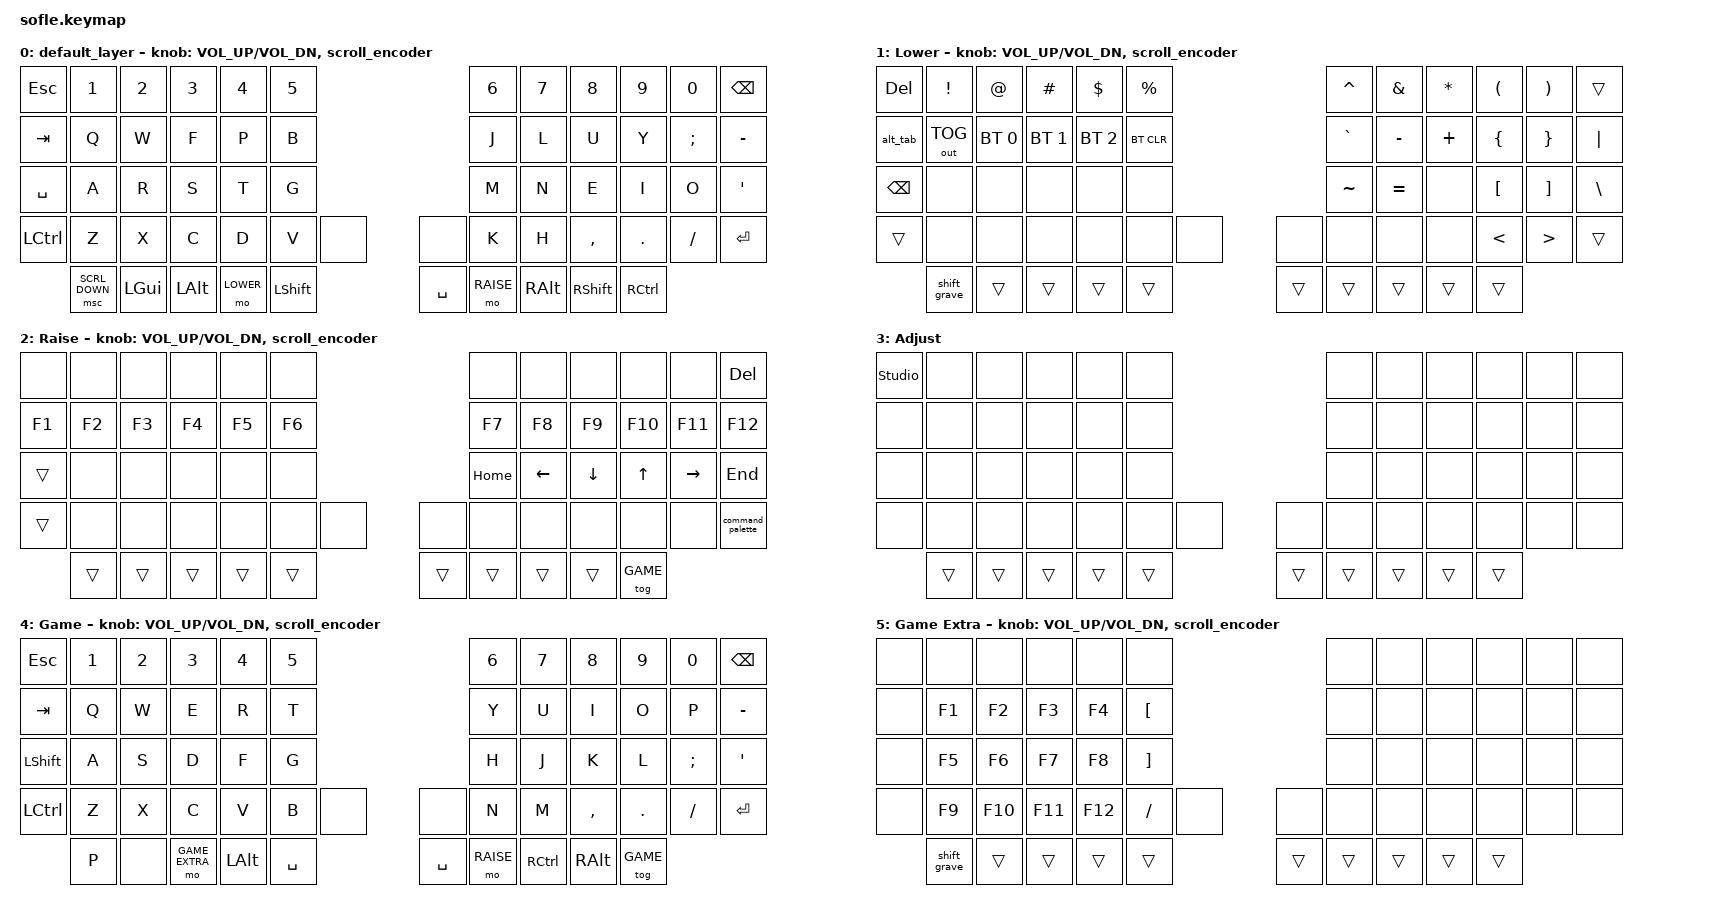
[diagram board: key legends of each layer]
/*
* Copyright (c) 2020 The ZMK Contributors
*
* SPDX-License-Identifier: MIT
*/


#define ZMK_POINTING_DEFAULT_SCRL_VAL 100// 10

#include <behaviors.dtsi>
#include <dt-bindings/zmk/keys.h>
#include <dt-bindings/zmk/outputs.h>
#include <dt-bindings/zmk/bt.h>
// #include <dt-bindings/zmk/rgb.h>
#include <dt-bindings/zmk/ext_power.h>
#include <dt-bindings/zmk/pointing.h>

#define BASE 0
#define LOWER 1
#define RAISE 2
#define ADJUST 3
#define GAME 4
#define GAME_EXTRA 5

/ {

	macros {
		command_palette: command_palette {
			label = "ZM_command_palette";
			wait-ms = <0>;
			tap-ms = <0>;
			compatible = "zmk,behavior-macro";
			#binding-cells = <0>;
			bindings
			= <&macro_press &kp LCTRL &kp LGUI>
			, <&macro_tap &kp SPACE>
			, <&macro_release &kp LCTRL &kp LGUI>
			;
		};
		alt_tab: alt_tab {
			label = "ZM_alt_tab";
			wait-ms = <0>;
			tap-ms = <0>;
			compatible = "zmk,behavior-macro";
			#binding-cells = <0>;
			bindings
			= <&macro_press &kp LALT>
			, <&macro_tap &kp TAB>
			, <&macro_release &kp LALT>
			;
		};
		shift_grave: shift_grave {
			label = "ZM_shift_grave";
			wait-ms = <0>;
			tap-ms = <0>;
			compatible = "zmk,behavior-macro";
			#binding-cells = <0>;
			bindings
			= <&macro_press &kp LSHIFT>
			, <&macro_tap &kp GRAVE>
			, <&macro_release &kp LSHIFT>
			;
		};
	};

	// Activate ADJUST layer by pressing raise and lower
	conditional_layers {
		compatible = "zmk,conditional-layers";
		adjust_layer {
			if-layers = <LOWER RAISE>;
			then-layer = <ADJUST>;
		};
	};

	behaviors {
		scroll_encoder: scroll_encoder {
			compatible = "zmk,behavior-sensor-rotate";
			#sensor-binding-cells = <0>;
			bindings = <&msc SCRL_DOWN>, <&msc SCRL_UP>;
			tap-ms = <30>;
		};
	};

	keymap {
		compatible = "zmk,keymap";

		default_layer {

			// BASE--------------------------------------------------------------------------------------------------------
			// | ESC   |  1  |  2  |  3  |  4   |  5    |                   |   6   |  7   |  8   |  9  |  0  | BKSPC |
			// | TAB   |  Q  |  W  |  E  |  R   |  T    |                   |   Y   |  U   |  I   |  O  |  P  |  -    |
			// | SPACE |  A  |  S  |  D  |  F   |  G    |                   |   H   |  J   |  K   |  L  |  ;  |  '    |
			// | LCTRL |  Z  |  X  |  C  |  V   |  B    |        |  |       |   N   |  M   |  ,   |  .  |  /  | ENTER |
			//               | GUI | ALT | CTRL | LOWER | LSHIFT |  | SPACE | RAISE | RALT | RGUI | GAME |
			bindings = <
			&kp ESC   &kp N1 &kp N2   &kp N3   &kp N4   &kp N5                                  &kp N6    &kp N7   &kp N8     &kp N9    &kp N0   &kp BSPC
			&kp TAB   &kp Q  &kp W    &kp F    &kp P    &kp B                                   &kp J     &kp L    &kp U      &kp Y     &kp SEMI &kp MINUS
			&kp SPACE &kp A  &kp R    &kp S    &kp T    &kp G                                   &kp M     &kp N    &kp E      &kp I     &kp O    &kp SQT
			&kp LCTRL &kp Z  &kp X    &kp C    &kp D    &kp V     &none               &none     &kp K     &kp H    &kp COMMA  &kp DOT   &kp FSLH &kp ENTER
			          &msc SCRL_DOWN &kp LGUI &kp LALT &mo LOWER &kp LSHIFT          &kp SPACE &mo RAISE &kp RALT &kp RSHIFT &kp RCTRL
			>;

			sensor-bindings = <&inc_dec_kp C_VOL_UP C_VOL_DN &scroll_encoder>;
		};

		lower_layer {
			display-name = "Lower";
			// LOWER------------------------------------------------------------------------------------------------------
			// |  ESC       |  !            |  @  |  #  |  $           |  %            |                   |  ^    |  &   |  *  |  (  |  )  | BKSPC |
			// |  ALT TAB   | TOGGLE OUTPUT | BT1 | BT2 | BT3          | BT CLEAR      |                   |  `    |  -   |  +  |  {  |  }  | F12   |
			// |  BACKSPACE |               |     |     |              |               |                   |  ~    |  =   |     |  [  |  ]  |  \    |
			// | LCTRL      |               |     |     |              |               |        |  |       |       |      |     |  <  |  >  | ENTER |
			//                              | GUI | ALT | CTRL         | LOWER         | LSHIFT |  | SPACE | RAISE | CTRL | ALT | GUI |
			bindings = <
			&kp DEL      &kp EXCL     &kp AT       &kp HASH     &kp DLLR     &kp PRCNT                          &kp CARET &kp AMPS  &kp ASTRK &kp LPAR &kp RPAR &trans
			&alt_tab     &out OUT_TOG &bt BT_SEL 0 &bt BT_SEL 1 &bt BT_SEL 2 &bt BT_CLR                         &kp GRAVE &kp MINUS &kp PLUS  &kp LBRC &kp RBRC &kp PIPE
			&kp BSPC     &none        &none        &none        &none        &none                              &kp TILDE &kp EQUAL &none     &kp LBKT &kp RBKT &kp BSLH
			&trans       &none        &none        &none        &none        &none      &none           &none   &none     &none     &none     &kp LT   &kp GT   &trans
			                          &shift_grave &trans       &trans       &trans     &trans          &trans  &trans    &trans    &trans    &trans
	 		>;

			sensor-bindings = <&inc_dec_kp C_VOL_UP C_VOL_DN &scroll_encoder>;
		};

		raise_layer {
			display-name = "Raise";
			// ------------------------------------------------------------------------------------------------------------
			// |    |    |     |     |      |       |                   |       |      |      |     |       | DELETE |
			// | F1 | F2 | F3  | F4  | F5   | F6    |                   | F7    | F8   | F9   | F10 | F11   | F12    |
			// |    |    |     |     |      |       |                   | HOME  | LEFT | DOWN | UP  | RIGHT | END    |
			// |    |    |     |     |      |       |        |  |       |       |      |      |     |       |        |
			//           | GUI | ALT | CTRL | LOWER | LSHIFT |  | SPACE | RAISE | CTRL | ALT  | GUI |
			bindings = <
			&none  &none  &none  &none  &none  &none                         &none    &none    &none    &none     &none     &kp DEL
			&kp F1 &kp F2 &kp F3 &kp F4 &kp F5 &kp F6                        &kp F7   &kp F8   &kp F9   &kp F10   &kp F11   &kp F12
			&trans &none  &none  &none  &none  &none                         &kp HOME &kp LEFT &kp DOWN &kp UP    &kp RIGHT &kp END
			&trans &none  &none  &none  &none  &none  &none           &none  &none    &none    &none    &none     &none     &command_palette
			&trans &trans &trans &trans &trans          &trans &trans   &trans   &trans   &tog GAME
			>;

			sensor-bindings = <&inc_dec_kp C_VOL_UP C_VOL_DN &scroll_encoder>;
		};

		adjust_layer {
			display-name = "Adjust";
			// ADJUST------------------------------------------------------------------------------------------------------
			// |     |     |     |     |      |       |                   |       |      |     |     |     |     |
			// |     |     |     |     |      |       |                   |       |      |     |     |     |     |
			// |     |     |     |     |      |       |                   |       |      |     |     |     |     |
			// |     |     |     |     |      |       |        |  |       |       |      |     |     |     |     |
			//             | GUI | ALT | CTRL | LOWER | LSHIFT |  | SPACE | RAISE | CTRL | ALT | GUI |
			bindings = <
			&studio_unlock &none  &none  &none  &none  &none                         &none  &none  &none  &none  &none &none
			&none          &none  &none  &none  &none  &none                         &none  &none  &none  &none  &none &none
			&none          &none  &none  &none  &none  &none                         &none  &none  &none  &none  &none &none
			&none          &none  &none  &none  &none  &none  &none           &none  &none  &none  &none  &none  &none &none
			&trans &trans &trans &trans &trans          &trans &trans &trans &trans &trans
			>;
		};

		game_layer {
			display-name = "Game";
			// GAME------------------------------------------------------------------------------------------------------
			// | ESC    |  1  |  2  |  3  |  4          |  5   |                  |  6  |  7  |  8  |  9  |  0  | BKSPC |
			// | TAB    |  Q  |  W  |  E  |  R          |  T   |                  |  Y  |  U  |  I  |  O  |  P  |  -    |
			// | LSHIFT |  A  |  S  |  D  |  F          |  G   |                  |  H  |  J  |  K  |  L  |  ;  |  '    |
			// | LCTRL  |  Z  |  X  |  C  |  V          |  B   |       |  |       |  N  |  M  |  ,  |  .  |  /  | ENTER |
			//                |  P  |     | GAME_EXTRA | LALT | SPACE |  | SPACE |     |     |     | BASE |
			bindings = <
			&kp ESC    &kp N1 &kp N2 &kp N3 &kp N4         &kp N5                                &kp N6    &kp N7    &kp N8    &kp N9    &kp N0   &kp BSPC
			&kp TAB    &kp Q  &kp W  &kp E  &kp R          &kp T                                 &kp Y     &kp U     &kp I     &kp O     &kp P    &kp MINUS
			&kp LSHIFT &kp A  &kp S  &kp D  &kp F          &kp G                                 &kp H     &kp J     &kp K     &kp L     &kp SEMI &kp SQT
			&kp LCTRL  &kp Z  &kp X  &kp C  &kp V          &kp B    &none              &none     &kp N     &kp M     &kp COMMA &kp DOT   &kp FSLH &kp ENTER
			&kp P  &none  &mo GAME_EXTRA &kp LALT &kp SPACE          &kp SPACE &mo RAISE &kp RCTRL &kp RALT  &tog GAME
			>;

			sensor-bindings = <&inc_dec_kp C_VOL_UP C_VOL_DN &scroll_encoder>;
		};

		game_extra_layer {
			display-name = "Game Extra";
			// GAME_EXTRA------------------------------------------------------------------------------------------------------
			// |     |     |     |     |     |     |                |     |     |     |     |     |     |
			// |     | F1  | F2  | F3  | F4  |  [  |                |     |     |     |     |     |     |
			// |     | F5  | F6  | F7  | F8  |  ]  |                |     |     |     |     |     |     |
			// |     | F9  | F10 | F11 | F12 |  /  |     |    |     |     |     |     |     |     |     |
			//             |     |     |     |     |     |    |     |     |     |     |     |
			bindings = <
			&none &none  &none        &none   &none   &none                           &none  &none  &none  &none  &none &none
			&none &kp F1 &kp F2       &kp F3  &kp F4  &kp LBKT                        &none  &none  &none  &none  &none &none
			&none &kp F5 &kp F6       &kp F7  &kp F8  &kp RBKT                        &none  &none  &none  &none  &none &none
			&none &kp F9 &kp F10      &kp F11 &kp F12 &kp FSLH &none           &none  &none  &none  &none  &none  &none &none
			&shift_grave &trans  &trans  &trans   &trans          &trans &trans &trans &trans &trans
			>;

			sensor-bindings = <&inc_dec_kp C_VOL_UP C_VOL_DN &scroll_encoder>;
		};

	};
};
